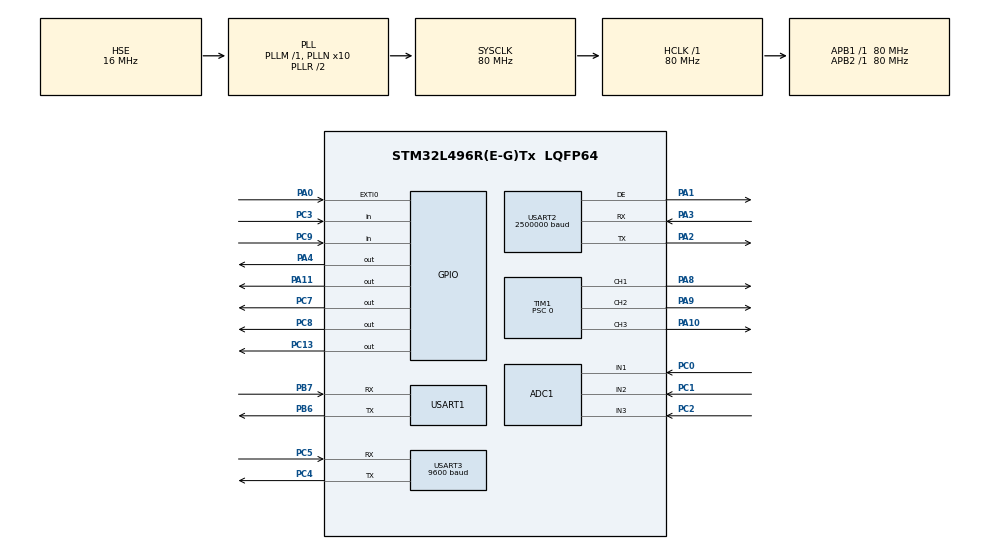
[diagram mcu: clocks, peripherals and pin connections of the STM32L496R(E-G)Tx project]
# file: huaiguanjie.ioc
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ADC1.Channel-0\#ChannelRegularConversion=ADC_CHANNEL_3
ADC1.ClockPrescaler=ADC_CLOCK_ASYNC_DIV4
ADC1.DataAlign=ADC_DATAALIGN_RIGHT
ADC1.EnableInjectedConversion=ENABLE
ADC1.ExternalTrigConv=ADC_SOFTWARE_START
ADC1.ExternalTrigInjecConv=ADC_EXTERNALTRIGINJEC_T1_TRGO2
ADC1.InjMonitoredBy-3\#ChannelInjectedConversion=__NULL
ADC1.InjMonitoredBy-4\#ChannelInjectedConversion=__NULL
ADC1.InjMonitoredBy-5\#ChannelInjectedConversion=__NULL
ADC1.InjNumberOfConversion=3
ADC1.InjectedChannel-3\#ChannelInjectedConversion=ADC_CHANNEL_1
ADC1.InjectedChannel-4\#ChannelInjectedConversion=ADC_CHANNEL_2
ADC1.InjectedChannel-5\#ChannelInjectedConversion=ADC_CHANNEL_3
ADC1.InjectedOffsetNumber-3\#ChannelInjectedConversion=ADC_OFFSET_NONE
ADC1.InjectedOffsetNumber-4\#ChannelInjectedConversion=ADC_OFFSET_NONE
ADC1.InjectedOffsetNumber-5\#ChannelInjectedConversion=ADC_OFFSET_NONE
ADC1.InjectedRank-3\#ChannelInjectedConversion=1
ADC1.InjectedRank-4\#ChannelInjectedConversion=2
ADC1.InjectedRank-5\#ChannelInjectedConversion=3
ADC1.InjectedSamplingTime-3\#ChannelInjectedConversion=ADC_SAMPLETIME_12CYCLES_5
ADC1.InjectedSamplingTime-4\#ChannelInjectedConversion=ADC_SAMPLETIME_12CYCLES_5
ADC1.InjectedSamplingTime-5\#ChannelInjectedConversion=ADC_SAMPLETIME_12CYCLES_5
ADC1.NbrOfConversion=1
ADC1.NbrOfConversionFlag=1
ADC1.OffsetNumber-0\#ChannelRegularConversion=ADC_OFFSET_NONE
ADC1.Rank-0\#ChannelRegularConversion=1
ADC1.Rank1_Channel=ADC_CHANNEL_1
ADC1.Rank2_Channel=ADC_CHANNEL_2
ADC1.Rank3_Channel=ADC_CHANNEL_3
ADC1.SamplingTime-0\#ChannelRegularConversion=ADC_SAMPLETIME_6CYCLES_5
ADC1.master=1
Dma.Request0=USART1_RX
Dma.Request1=USART1_TX
Dma.Request2=USART3_RX
Dma.Request3=USART3_TX
Dma.Request4=USART2_RX
Dma.Request5=USART2_TX
Dma.USART1_RX.0.Direction=DMA_PERIPH_TO_MEMORY
Dma.USART1_RX.0.Instance=DMA1_Channel5
Dma.USART1_RX.0.MemDataAlignment=DMA_MDATAALIGN_BYTE
Dma.USART1_RX.0.MemInc=DMA_MINC_ENABLE
Dma.USART1_RX.0.Mode=DMA_CIRCULAR
Dma.USART1_RX.0.PeriphDataAlignment=DMA_PDATAALIGN_BYTE
Dma.USART1_RX.0.PeriphInc=DMA_PINC_DISABLE
Dma.USART1_RX.0.Priority=DMA_PRIORITY_LOW
Dma.USART1_TX.1.Direction=DMA_MEMORY_TO_PERIPH
Dma.USART1_TX.1.Instance=DMA1_Channel4
Dma.USART1_TX.1.MemDataAlignment=DMA_MDATAALIGN_BYTE
Dma.USART1_TX.1.MemInc=DMA_MINC_ENABLE
Dma.USART1_TX.1.Mode=DMA_NORMAL
Dma.USART1_TX.1.PeriphDataAlignment=DMA_PDATAALIGN_BYTE
Dma.USART1_TX.1.PeriphInc=DMA_PINC_DISABLE
Dma.USART1_TX.1.Priority=DMA_PRIORITY_LOW
Dma.USART2_RX.4.Direction=DMA_PERIPH_TO_MEMORY
Dma.USART2_RX.4.Instance=DMA1_Channel6
Dma.USART2_RX.4.MemDataAlignment=DMA_MDATAALIGN_BYTE
Dma.USART2_RX.4.MemInc=DMA_MINC_ENABLE
Dma.USART2_RX.4.Mode=DMA_CIRCULAR
Dma.USART2_RX.4.PeriphDataAlignment=DMA_PDATAALIGN_BYTE
Dma.USART2_RX.4.PeriphInc=DMA_PINC_DISABLE
Dma.USART2_RX.4.Priority=DMA_PRIORITY_HIGH
Dma.USART2_TX.5.Direction=DMA_MEMORY_TO_PERIPH
Dma.USART2_TX.5.Instance=DMA1_Channel7
Dma.USART2_TX.5.MemDataAlignment=DMA_MDATAALIGN_BYTE
Dma.USART2_TX.5.MemInc=DMA_MINC_ENABLE
Dma.USART2_TX.5.Mode=DMA_NORMAL
Dma.USART2_TX.5.PeriphDataAlignment=DMA_PDATAALIGN_BYTE
Dma.USART2_TX.5.PeriphInc=DMA_PINC_DISABLE
Dma.USART2_TX.5.Priority=DMA_PRIORITY_HIGH
Dma.USART3_RX.2.Direction=DMA_PERIPH_TO_MEMORY
Dma.USART3_RX.2.Instance=DMA1_Channel3
Dma.USART3_RX.2.MemDataAlignment=DMA_MDATAALIGN_BYTE
Dma.USART3_RX.2.MemInc=DMA_MINC_ENABLE
Dma.USART3_RX.2.Mode=DMA_CIRCULAR
Dma.USART3_RX.2.PeriphDataAlignment=DMA_PDATAALIGN_BYTE
Dma.USART3_RX.2.PeriphInc=DMA_PINC_DISABLE
Dma.USART3_RX.2.Priority=DMA_PRIORITY_LOW
Dma.USART3_TX.3.Direction=DMA_MEMORY_TO_PERIPH
Dma.USART3_TX.3.Instance=DMA1_Channel2
Dma.USART3_TX.3.MemDataAlignment=DMA_MDATAALIGN_BYTE
Dma.USART3_TX.3.MemInc=DMA_MINC_ENABLE
Dma.USART3_TX.3.Mode=DMA_NORMAL
Dma.USART3_TX.3.PeriphDataAlignment=DMA_PDATAALIGN_BYTE
Dma.USART3_TX.3.PeriphInc=DMA_PINC_DISABLE
Dma.USART3_TX.3.Priority=DMA_PRIORITY_LOW
Mcu.Family=STM32L4
Mcu.Name=STM32L496R(E-G)Tx
Mcu.Package=LQFP64
Mcu.UserConstants=TIM_DEADTIME_CLOCK,80;TIM_PWM_HZ,10000;TIM_PERIOD_CLOCK,4000;INIT_PWM,TIM_PERIOD_CLOCK;PWM_ADC_INJECT_TIME,3960
NVIC.ADC1_2_IRQn=true\:0\:0\:false\:false\:true\:true\:true\:true
NVIC.DMA1_Channel2_IRQn=true\:0\:0\:false\:false\:true\:false\:true\:true
NVIC.DMA1_Channel3_IRQn=true\:0\:0\:false\:false\:true\:false\:true\:true
NVIC.DMA1_Channel4_IRQn=true\:0\:0\:false\:false\:true\:false\:true\:true
NVIC.DMA1_Channel5_IRQn=true\:0\:0\:false\:false\:true\:false\:true\:true
NVIC.DMA1_Channel6_IRQn=true\:0\:0\:false\:false\:true\:false\:true\:true
NVIC.DMA1_Channel7_IRQn=true\:0\:0\:false\:false\:true\:false\:true\:true
NVIC.PriorityGroup=NVIC_PRIORITYGROUP_4
NVIC.USART1_IRQn=true\:2\:0\:true\:false\:true\:true\:true\:true
NVIC.USART2_IRQn=true\:0\:0\:false\:false\:true\:true\:true\:true
NVIC.USART3_IRQn=true\:0\:0\:false\:false\:true\:true\:true\:true
PA0.Signal=GPXTI0
PA1.Mode=Hardware Flow Control (RS485)
PA1.Signal=USART2_DE
PA10.Signal=S_TIM1_CH3
PA11.Signal=GPIO_Output
PA13\ (JTMS/SWDIO).Mode=Serial_Wire
PA13\ (JTMS/SWDIO).Signal=SYS_JTMS-SWDIO
PA14\ (JTCK/SWCLK).Mode=Serial_Wire
PA14\ (JTCK/SWCLK).Signal=SYS_JTCK-SWCLK
PA2.Mode=Asynchronous
PA2.Signal=USART2_TX
PA3.Mode=Asynchronous
PA3.Signal=USART2_RX
PA4.Signal=GPIO_Output
PA8.Signal=S_TIM1_CH1
PA9.Signal=S_TIM1_CH2
PB6.Mode=Asynchronous
PB6.Signal=USART1_TX
PB7.Mode=Asynchronous
PB7.Signal=USART1_RX
PC0.Signal=ADCx_IN1
PC1.Signal=ADCx_IN2
PC13.Signal=GPIO_Output
PC2.Signal=ADCx_IN3
PC3.Signal=GPIO_Input
PC4.GPIO_PuPd=GPIO_PULLUP
PC4.Mode=Asynchronous
PC4.Signal=USART3_TX
PC5.GPIO_PuPd=GPIO_PULLUP
PC5.Mode=Asynchronous
PC5.Signal=USART3_RX
PC7.Signal=GPIO_Output
PC8.Signal=GPIO_Output
PC9.Signal=GPIO_Input
PH0-OSC_IN\ (PH0).Mode=HSE-External-Oscillator
PH0-OSC_IN\ (PH0).Signal=RCC_OSC_IN
PH1-OSC_OUT\ (PH1).Mode=HSE-External-Oscillator
PH1-OSC_OUT\ (PH1).Signal=RCC_OSC_OUT
ProjectManager.HeapSize=0x200
ProjectManager.StackSize=0x400
ProjectManager.TargetToolchain=STM32CubeIDE
RCC.ADCFreq_Value=48000000
RCC.AHBFreq_Value=80000000
RCC.APB1Freq_Value=80000000
RCC.APB1TimFreq_Value=80000000
RCC.APB2Freq_Value=80000000
RCC.APB2TimFreq_Value=80000000
RCC.CortexFreq_Value=80000000
RCC.HCLKFreq_Value=80000000
RCC.HSE_VALUE=16000000
RCC.HSI48_VALUE=48000000
RCC.HSI_VALUE=16000000
RCC.LSE_VALUE=32768
RCC.MSIClockRange=RCC_MSIRANGE_8
RCC.MSI_VALUE=16000000
RCC.PLLN=10
RCC.PLLSAI1N=12
RCC.PLLSAI1Q=RCC_PLLQ_DIV4
RCC.PLLSAI1R=RCC_PLLR_DIV4
RCC.PLLSourceVirtual=RCC_PLLSOURCE_HSE
RCC.SYSCLKFreq_VALUE=80000000
RCC.SYSCLKSource=RCC_SYSCLKSOURCE_PLLCLK
RCC.USBFreq_Value=48000000
RCC.VCOOutputFreq_Value=160000000
SH.ADCx_IN1.0=ADC1_IN1,IN1-Single-Ended
SH.ADCx_IN2.0=ADC1_IN2,IN2-Single-Ended
SH.ADCx_IN3.0=ADC1_IN3,IN3-Single-Ended
SH.S_TIM1_CH1.0=TIM1_CH1,PWM Generation1 CH1
SH.S_TIM1_CH2.0=TIM1_CH2,PWM Generation2 CH2
SH.S_TIM1_CH3.0=TIM1_CH3,PWM Generation3 CH3
STMicroelectronics.X-CUBE-ALGOBUILD.1.4.0.LibraryCcDSPOoLibraryJjDSPOoLibrary=true
TIM1.Channel-Output\ Compare4\ No\ Output=TIM_CHANNEL_4
TIM1.Channel-Output\ Compare5\ No\ Output=TIM_CHANNEL_5
TIM1.Channel-PWM\ Generation1\ CH1=TIM_CHANNEL_1
TIM1.Channel-PWM\ Generation2\ CH2=TIM_CHANNEL_2
TIM1.Channel-PWM\ Generation3\ CH3=TIM_CHANNEL_3
TIM1.CounterMode=TIM_COUNTERMODE_CENTERALIGNED1
TIM1.OCMode_4=TIM_OCMODE_TOGGLE
TIM1.OCMode_5=TIM_OCMODE_TOGGLE
TIM1.OffStateIDLEMode=TIM_OSSI_ENABLE
TIM1.OffStateRunMode=TIM_OSSR_ENABLE
TIM1.Period=TIM_PERIOD_CLOCK
TIM1.Prescaler=0
TIM1.Pulse=PWM_ADC_INJECT_TIME
TIM1.Pulse-Output\ Compare5\ No\ Output=PWM_ADC_INJECT_TIME
TIM1.TIM_MasterOutputTrigger=TIM_TRGO_OC4REF
TIM1.TIM_MasterOutputTrigger2=TIM_TRGO2_OC5REF
TIM1.TIM_MasterSlaveMode=TIM_MASTERSLAVEMODE_ENABLE
USART1.VirtualMode-Asynchronous=VM_ASYNC
USART2.BaudRate=2500000
USART2.OverSampling=UART_OVERSAMPLING_16
USART2.VirtualMode-Asynchronous=VM_ASYNC
USART2.VirtualMode-Hardware\ Flow\ Control\ (RS485)=VM_ASYNC
USART3.BaudRate=9600
USART3.VirtualMode-Asynchronous=VM_ASYNC
VP_RTC_VS_RTC_Activate.Mode=RTC_Enabled
VP_STMicroelectronics.X-CUBE-ALGOBUILD_VS_DSPOoLibraryJjLibrary_1.4.0_1.4.0.Mode=DSPOoLibraryJjLibrary
VP_TIM1_VS_no_output4.Mode=Output Compare4 No Output
VP_TIM1_VS_no_output5.Mode=Output Compare5 No Output
board=custom

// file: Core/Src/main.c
/* USER CODE BEGIN Header */
/**
  ******************************************************************************
  * @file           : main.c
  * @brief          : Main program body
  ******************************************************************************
  * @attention
  *
  * Copyright (c) 2025 STMicroelectronics.
  * All rights reserved.
  *
  * This software is licensed under terms· that can be found in the LICENSE file
  * in the root directory of this software component.
  * If no LICENSE file comes with this software, it is provided AS-IS.
  *
  ******************************************************************************
  */
/* USER CODE END Header */
#include "main.h"
#include "adc.h"
#include "dma.h"
#include "rtc.h"
#include "tim.h"
#include "usart.h"
#include "gpio.h"

void SystemClock_Config(void);
/* USER CODE BEGIN PFP */
volatile uint64_t TasktickCount = 0;
volatile uint32_t SystickCount = 0;
volatile uint64_t App_period_1ms=0;
volatile uint64_t App_period_5ms=0;
volatile uint64_t App_period_1s=0;

/* USER CODE END PFP */

/* USER CODE BEGIN 0 */
MOTOR_t motor[NUM_MOTORS] = {
  {
    .adc_sensor = {
      .ADC_a = &hadc1, .ADC_b = &hadc1, .ADC_c = &hadc1, .current_reading_polarization = pwmc_current_reading_polarization, .read_iphase_a = bsp_read_iphase_a,
      .read_iphase_b = bsp_read_iphase_b,.read_iphase_c = bsp_read_iphase_c
    },
    .calibration = {
      .calib_step = CS_NULL, .calibration_start = calibration_start, .calibration_end = calibration_end, .calibration_loop = calibration_loop
    },
    .zero_cailbration = {
      .start = zero_cailbration_start, .end = zero_cailbration_stop, .loop = zero_cailbration_loop
    },
    .controller = {
      .set_home = controller_set_home, .sync_callback = controller_sync_callback, .init = controller_init, .reset = controller_reset,
      .loop = controller_loop
    },
    .traj = {
      .plan = traj_plan, .eval = traj_eval
    },
    .encoder = {
      .usart = &huart2, .init = encoder_init, .loop = encoder_loop, .tx_cp = encoder_tx_cp, .cmd = encoder_cmd,
      .rx_idle = encoder_rx_idle, .rx_half = encoder_rx_half, .rx_cp = encoder_rx_cp
    },
    .battery = {
      .usart = &huart3, .init = battery_init, .loop = battery_loop, .tx_cp = battery_tx_cp, .rx_idle = battery_rx_idle,
      .rx_half = battery_rx_half, .rx_cp = battery_rx_cp,.read_voltage = battery_read_voltage,.set_press_time = battery_set_press_time, .led_control = battery_led_control
    },
    .main_comm = {
      .usart = &huart1, .init = main_communication_init, .loop = main_communication_loop, .tx_cp = main_communication_tx_cp,
      .rx_idle = main_communication_rx_idle, .rx_half = main_communication_rx_half, .rx_cp = main_communication_rx_cp
    },
    .enable = {
      .motor_enable_gpio = GPIOC, .encoder_enable_gpio = GPIOC, .motor_boost_gpio = GPIOC,.test_gpio = GPIOA,.test_pin = GPIO_PIN_12,.motor_boost_pin = GPIO_PIN_8 ,.motor_drive_pin = GPIO_PIN_13 ,.encoder_enable_pin = GPIO_PIN_7,
      .drive_enable = enable_motor_drive, .boost_enable = enable_boost, .encoder_enable = enable_encoder, .test_enable = test_gpio
    },
    .pwm_gen = {
      .motor_tim = &htim1, .set_a_duty = set_a_duty, .set_b_duty = set_b_duty, .set_c_duty = set_c_duty, .switch_off_pwm = switch_off_pwm, .switch_on_pwm = switch_on_pwm,
      .turn_on_low_sides = turn_on_low_sides_pwm
    },
    .foc = {
      .init = FOC_init, .update_current_ctrl_gain = FOC_update_current_ctrl_gain, .arm = FOC_arm, .disarm = FOC_disarm, .voltage = FOC_voltage, .current = FOC_current
    },
    .open_loop = {
      .start = open_loop_start, .end = open_loop_end, .loop = open_loop_loop
    },
    .task = {
      .init = task_init, .reset_error = task_reset_error, .set_state = task_set_state, .enter_state = task_enter_state, .exit_state = task_exit_state,
      .high_frequency_task = task_high_frequency_task, .safety_task = task_safety_task, .low_priority_task = task_low_priority_task
    },
    .usrconfigapi = {
      .usr_config_set_default_config = usr_config_set_default_config,
      .usr_config_write_config = usr_config_write_config,
      .usr_config_read_config = usr_config_read_config,
      .usr_config_set_control_mode = usr_config_set_control_mode
    },
  },
};

void sys_tick_call_back(void)
{
  if(TasktickCount - App_period_1ms >= 1){
    App_period_1ms = TasktickCount;
    for(int i = 0;i < NUM_MOTORS;i++){
      if(motor[i].debug_flag) {
        motor[i].debug_flag = 0;

        motor[i].task.statecmd = motor[i].debug_state;
        motor[i].task.set_state(&motor[0].task,&motor[0].enable,&motor[0].usrconfig);
        motor[i].controller.sync_callback(&motor[i].controller,&motor[i].usrconfig,&motor[i].task);
      }
      motor[i].task.low_priority_task(&motor[i]);
    }
  }

  if(TasktickCount - App_period_5ms >= 5){
    App_period_5ms = TasktickCount;
  }

  if(TasktickCount - App_period_1s >= 1000) {
    App_period_1s = TasktickCount;
    // motor[0].battery.loop(&motor->battery);
    if(motor[0].task.fsm.state == BOOT_UP) {
      motor[0].task.statecmd = IDLE;
      motor[0].usrconfig.control_mode = 2;
      motor[0].task.set_state(&motor[0].task,&motor[0].enable,&motor[0].usrconfig);
      motor[0].controller.sync_callback(&motor[0].controller,&motor[0].usrconfig,&motor[0].task);
    }
  }
}

/* USER CODE END 0 */

int main(void)
{

  /* MCU Configuration--------------------------------------------------------*/

  /* Reset of all peripherals, Initializes the Flash interface and the Systick. */
  HAL_Init();

  /* Configure the system clock */
  SystemClock_Config();

  /* Initialize all configured peripherals */
  MX_GPIO_Init();
  MX_DMA_Init();
  MX_RTC_Init();
  MX_ADC1_Init();
  MX_TIM1_Init();
  MX_USART1_UART_Init();
  MX_USART2_UART_Init();
  MX_USART3_UART_Init();
  /* USER CODE BEGIN 2 */
	DWT_Tick_TimerInit();

  HAL_Delay(500);

  for(int i = 0;i < NUM_MOTORS;i++){
    motor[i].task.init(&motor[i].task);
    motor[i].usrconfigapi.usr_config_set_default_config(&motor[i].usrconfig);
  }

  bsp_adc_init();
  bsp_usart_init();

  for(int i = 0; i < NUM_MOTORS; i++){
    motor[i].foc.init(&motor[i].foc , &motor[i].usrconfig);
    motor[i].encoder.init(&motor[i].encoder,&motor[i].enable);
    motor[i].main_comm.init(&motor[i].main_comm);
    motor[i].battery.init(&motor[i].battery);
    motor[i].controller.init(&motor[i].controller,&motor[i].usrconfig);
  }

  bsp_tim_init();

  for(int i = 0; i < NUM_MOTORS; i++){
    if(motor[i].adc_sensor.current_reading_polarization(&motor[i].adc_sensor,&motor[i].pwm_gen) != 0){
      motor[i].task.statusword_new.errors.adc_selftest_fatal = 1;

      motor[i].task.statecmd = IDLE;
      motor[i].task.set_state(&motor[0].task,&motor[0].enable,&motor[0].usrconfig);
      motor[i].task.init_flg = true;
    }
  }
  // motor[0].traj.plan(&motor[0].traj,test_t_pos,0,test_t_vel,0,test_time,test_t_acc,test_t_dec,45);

  // switch_on_pwm(&motor[0].pwm_gen);
  /* USER CODE END 2 */

  /* Infinite loop */
  while (1)
  {

  }
}

void SystemClock_Config(void)
{
  RCC_OscInitTypeDef RCC_OscInitStruct = {0};
  RCC_ClkInitTypeDef RCC_ClkInitStruct = {0};

  /** Configure the main internal regulator output voltage
  */
  if (HAL_PWREx_ControlVoltageScaling(PWR_REGULATOR_VOLTAGE_SCALE1) != HAL_OK)
  {
    Error_Handler();
  }

  /** Initializes the RCC Oscillators according to the specified parameters
  * in the RCC_OscInitTypeDef structure.
  */
  RCC_OscInitStruct.OscillatorType = RCC_OSCILLATORTYPE_LSI|RCC_OSCILLATORTYPE_HSE;
  RCC_OscInitStruct.HSEState = RCC_HSE_ON;
  RCC_OscInitStruct.LSIState = RCC_LSI_ON;
  RCC_OscInitStruct.PLL.PLLState = RCC_PLL_ON;
  RCC_OscInitStruct.PLL.PLLSource = RCC_PLLSOURCE_HSE;
  RCC_OscInitStruct.PLL.PLLM = 1;
  RCC_OscInitStruct.PLL.PLLN = 10;
  RCC_OscInitStruct.PLL.PLLP = RCC_PLLP_DIV2;
  RCC_OscInitStruct.PLL.PLLQ = RCC_PLLQ_DIV2;
  RCC_OscInitStruct.PLL.PLLR = RCC_PLLR_DIV2;
  if (HAL_RCC_OscConfig(&RCC_OscInitStruct) != HAL_OK)
  {
    Error_Handler();
  }

  /** Initializes the CPU, AHB and APB buses clocks
  */
  RCC_ClkInitStruct.ClockType = RCC_CLOCKTYPE_HCLK|RCC_CLOCKTYPE_SYSCLK
                              |RCC_CLOCKTYPE_PCLK1|RCC_CLOCKTYPE_PCLK2;
  RCC_ClkInitStruct.SYSCLKSource = RCC_SYSCLKSOURCE_PLLCLK;
  RCC_ClkInitStruct.AHBCLKDivider = RCC_SYSCLK_DIV1;
  RCC_ClkInitStruct.APB1CLKDivider = RCC_HCLK_DIV1;
  RCC_ClkInitStruct.APB2CLKDivider = RCC_HCLK_DIV1;

  if (HAL_RCC_ClockConfig(&RCC_ClkInitStruct, FLASH_LATENCY_4) != HAL_OK)
  {
    Error_Handler();
  }
}

void Error_Handler(void)
{
  __disable_irq();
  while (1)
  {
  }
}
